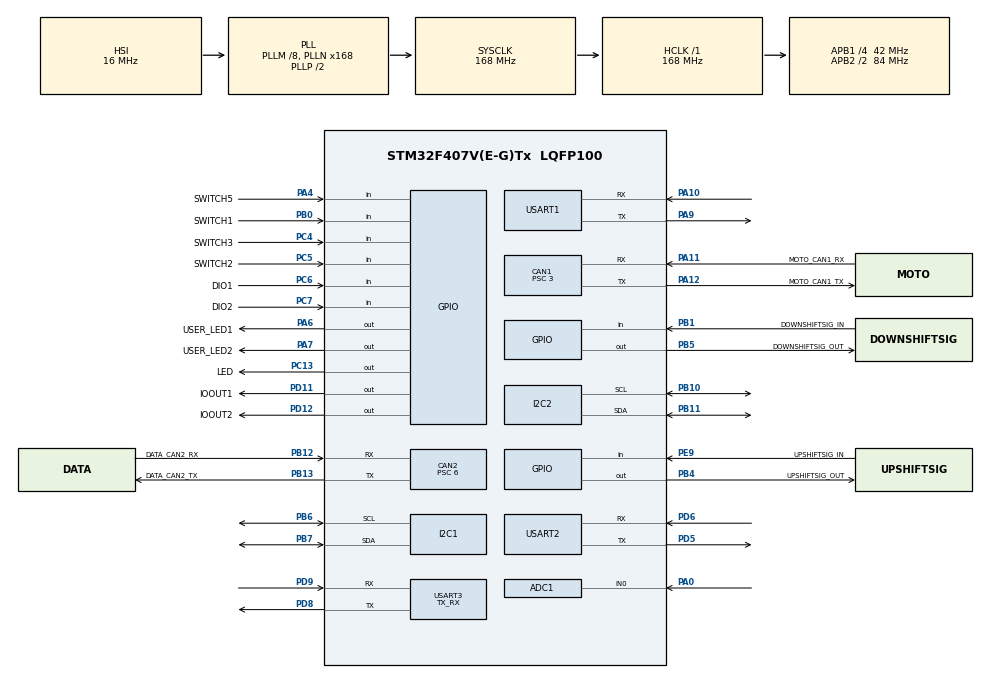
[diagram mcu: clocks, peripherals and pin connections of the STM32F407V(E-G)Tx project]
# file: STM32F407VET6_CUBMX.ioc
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ADC1.Channel-1\#ChannelRegularConversion=ADC_CHANNEL_0
ADC1.NbrOfConversionFlag=1
ADC1.Rank-1\#ChannelRegularConversion=1
ADC1.Resolution=ADC_RESOLUTION_10B
ADC1.SamplingTime-1\#ChannelRegularConversion=ADC_SAMPLETIME_3CYCLES
ADC1.master=1
CAN1.AWUM=ENABLE
CAN1.BS1=CAN_BS1_8TQ
CAN1.BS2=CAN_BS2_5TQ
CAN1.CalculateBaudRate=1000000
CAN1.CalculateTimeBit=1000
CAN1.CalculateTimeQuantum=71.42857142857143
CAN1.NART=ENABLE
CAN1.Prescaler=3
CAN1.RFLM=ENABLE
CAN2.AWUM=ENABLE
CAN2.BS1=CAN_BS1_8TQ
CAN2.BS2=CAN_BS2_5TQ
CAN2.CalculateBaudRate=500000
CAN2.CalculateTimeBit=2000
CAN2.CalculateTimeQuantum=142.85714285714286
CAN2.Mode=CAN_MODE_NORMAL
CAN2.NART=ENABLE
CAN2.Prescaler=6
CAN2.RFLM=ENABLE
Dma.Request0=USART1_RX
Dma.Request1=USART1_TX
Dma.Request2=USART2_TX
Dma.USART1_RX.0.Direction=DMA_PERIPH_TO_MEMORY
Dma.USART1_RX.0.FIFOMode=DMA_FIFOMODE_DISABLE
Dma.USART1_RX.0.Instance=DMA2_Stream2
Dma.USART1_RX.0.MemDataAlignment=DMA_MDATAALIGN_BYTE
Dma.USART1_RX.0.MemInc=DMA_MINC_ENABLE
Dma.USART1_RX.0.Mode=DMA_NORMAL
Dma.USART1_RX.0.PeriphDataAlignment=DMA_PDATAALIGN_BYTE
Dma.USART1_RX.0.PeriphInc=DMA_PINC_DISABLE
Dma.USART1_RX.0.Priority=DMA_PRIORITY_LOW
Dma.USART1_TX.1.Direction=DMA_MEMORY_TO_PERIPH
Dma.USART1_TX.1.FIFOMode=DMA_FIFOMODE_DISABLE
Dma.USART1_TX.1.Instance=DMA2_Stream7
Dma.USART1_TX.1.MemDataAlignment=DMA_MDATAALIGN_BYTE
Dma.USART1_TX.1.MemInc=DMA_MINC_ENABLE
Dma.USART1_TX.1.Mode=DMA_NORMAL
Dma.USART1_TX.1.PeriphDataAlignment=DMA_PDATAALIGN_BYTE
Dma.USART1_TX.1.PeriphInc=DMA_PINC_DISABLE
Dma.USART1_TX.1.Priority=DMA_PRIORITY_LOW
Dma.USART2_TX.2.Direction=DMA_MEMORY_TO_PERIPH
Dma.USART2_TX.2.FIFOMode=DMA_FIFOMODE_DISABLE
Dma.USART2_TX.2.Instance=DMA1_Stream6
Dma.USART2_TX.2.MemDataAlignment=DMA_MDATAALIGN_BYTE
Dma.USART2_TX.2.MemInc=DMA_MINC_ENABLE
Dma.USART2_TX.2.Mode=DMA_NORMAL
Dma.USART2_TX.2.PeriphDataAlignment=DMA_PDATAALIGN_BYTE
Dma.USART2_TX.2.PeriphInc=DMA_PINC_DISABLE
Dma.USART2_TX.2.Priority=DMA_PRIORITY_LOW
Mcu.Family=STM32F4
Mcu.Name=STM32F407V(E-G)Tx
Mcu.Package=LQFP100
NVIC.CAN1_RX0_IRQn=true\:0\:0\:false\:false\:true\:true\:true\:true
NVIC.CAN2_RX1_IRQn=true\:0\:0\:false\:false\:true\:true\:true\:true
NVIC.DMA1_Stream6_IRQn=true\:0\:0\:false\:false\:true\:false\:true\:true
NVIC.DMA2_Stream2_IRQn=true\:0\:0\:false\:false\:true\:false\:true\:true
NVIC.DMA2_Stream7_IRQn=true\:0\:0\:false\:false\:true\:false\:true\:true
NVIC.PriorityGroup=NVIC_PRIORITYGROUP_4
NVIC.TIM2_IRQn=true\:1\:0\:true\:false\:true\:true\:true\:true
NVIC.TIM3_IRQn=true\:0\:0\:false\:false\:true\:true\:true\:true
PA0-WKUP.Signal=ADCx_IN0
PA10.Mode=Asynchronous
PA10.Signal=USART1_RX
PA11.GPIO_Label=MOTO_CAN1_RX
PA11.GPIO_PuPd=GPIO_NOPULL
PA11.Mode=CAN_Activate
PA11.Signal=CAN1_RX
PA12.GPIO_Label=MOTO_CAN1_TX
PA12.Mode=CAN_Activate
PA12.Signal=CAN1_TX
PA13.Mode=Serial_Wire
PA13.Signal=SYS_JTMS-SWDIO
PA14.Mode=Serial_Wire
PA14.Signal=SYS_JTCK-SWCLK
PA4.GPIO_Label=SWITCH5
PA4.GPIO_PuPd=GPIO_PULLDOWN
PA4.Signal=GPIO_Input
PA6.GPIO_Label=USER_LED1
PA6.GPIO_ModeDefaultOutputPP=GPIO_MODE_OUTPUT_PP
PA6.GPIO_PuPd=GPIO_PULLUP
PA6.PinState=GPIO_PIN_SET
PA6.Signal=GPIO_Output
PA7.GPIO_Label=USER_LED2
PA7.GPIO_PuPd=GPIO_PULLUP
PA7.PinState=GPIO_PIN_SET
PA7.Signal=GPIO_Output
PA9.Mode=Asynchronous
PA9.Signal=USART1_TX
PB0.GPIO_Label=SWITCH1
PB0.GPIO_PuPd=GPIO_PULLDOWN
PB0.Signal=GPIO_Input
PB1.GPIO_Label=DOWNSHIFTSIG_IN
PB1.GPIO_PuPd=GPIO_PULLDOWN
PB1.Signal=GPIO_Input
PB10.Mode=I2C
PB10.Signal=I2C2_SCL
PB11.Mode=I2C
PB11.Signal=I2C2_SDA
PB12.GPIO_Label=DATA_CAN2_RX
PB12.GPIO_PuPd=GPIO_PULLUP
PB12.Mode=CAN_Activate
PB12.Signal=CAN2_RX
PB13.GPIO_Label=DATA_CAN2_TX
PB13.GPIO_PuPd=GPIO_PULLUP
PB13.Mode=CAN_Activate
PB13.Signal=CAN2_TX
PB4.GPIO_Label=UPSHIFTSIG_OUT
PB4.GPIO_PuPd=GPIO_PULLDOWN
PB4.Signal=GPIO_Output
PB5.GPIO_Label=DOWNSHIFTSIG_OUT
PB5.GPIO_PuPd=GPIO_PULLDOWN
PB5.Signal=GPIO_Output
PB6.Mode=I2C
PB6.Signal=I2C1_SCL
PB7.Mode=I2C
PB7.Signal=I2C1_SDA
PC13-ANTI_TAMP.GPIO_Label=LED
PC13-ANTI_TAMP.GPIO_PuPd=GPIO_PULLUP
PC13-ANTI_TAMP.Signal=GPIO_Output
PC14-OSC32_IN.Mode=LSE-External-Oscillator
PC14-OSC32_IN.Signal=RCC_OSC32_IN
PC15-OSC32_OUT.Mode=LSE-External-Oscillator
PC15-OSC32_OUT.Signal=RCC_OSC32_OUT
PC4.GPIO_Label=SWITCH3
PC4.GPIO_PuPd=GPIO_PULLDOWN
PC4.Signal=GPIO_Input
PC5.GPIO_Label=SWITCH2
PC5.GPIO_PuPd=GPIO_PULLDOWN
PC5.Signal=GPIO_Input
PC6.GPIO_Label=DIO1
PC6.Signal=GPIO_Input
PC7.GPIO_Label=DIO2
PC7.Signal=GPIO_Input
PD11.GPIO_Label=IOOUT1
PD11.GPIO_PuPd=GPIO_PULLDOWN
PD11.Signal=GPIO_Output
PD12.GPIO_Label=IOOUT2
PD12.GPIO_PuPd=GPIO_PULLDOWN
PD12.Signal=GPIO_Output
PD5.Mode=Asynchronous
PD5.Signal=USART2_TX
PD6.Mode=Asynchronous
PD6.Signal=USART2_RX
PD8.Mode=Asynchronous
PD8.Signal=USART3_TX
PD9.Mode=Asynchronous
PD9.Signal=USART3_RX
PE9.GPIO_Label=UPSHIFTSIG_IN
PE9.GPIO_PuPd=GPIO_PULLDOWN
PE9.Signal=GPIO_Input
PH0-OSC_IN.Mode=HSE-External-Oscillator
PH0-OSC_IN.Signal=RCC_OSC_IN
PH1-OSC_OUT.Mode=HSE-External-Oscillator
PH1-OSC_OUT.Signal=RCC_OSC_OUT
ProjectManager.HeapSize=0x200
ProjectManager.StackSize=0x400
ProjectManager.TargetToolchain=MDK-ARM V5.32
RCC.48MHZClocksFreq_Value=84000000
RCC.AHBFreq_Value=168000000
RCC.APB1CLKDivider=RCC_HCLK_DIV4
RCC.APB1Freq_Value=42000000
RCC.APB1TimFreq_Value=84000000
RCC.APB2CLKDivider=RCC_HCLK_DIV2
RCC.APB2Freq_Value=84000000
RCC.APB2TimFreq_Value=168000000
RCC.CortexFreq_Value=168000000
RCC.HCLKFreq_Value=168000000
RCC.HSE_VALUE=25000000
RCC.HSI_VALUE=16000000
RCC.PLLM=8
RCC.PLLN=168
RCC.SYSCLKFreq_VALUE=168000000
RCC.SYSCLKSource=RCC_SYSCLKSOURCE_PLLCLK
RCC.VCOOutputFreq_Value=336000000
SH.ADCx_IN0.0=ADC1_IN0,IN0
TIM2.AutoReloadPreload=TIM_AUTORELOAD_PRELOAD_DISABLE
TIM2.Period=500-1
TIM2.Prescaler=16800-1
TIM3.Period=50-1
TIM3.Prescaler=16800-1
USART1.VirtualMode=VM_ASYNC
USART2.VirtualMode=VM_ASYNC
USART3.Mode=MODE_TX_RX
USART3.VirtualMode=VM_ASYNC
VP_TIM1_VS_ClockSourceINT.Mode=Internal
VP_TIM1_VS_ClockSourceITR.Mode=TriggerSource_ITR0
VP_TIM1_VS_ControllerModeTrigger.Mode=Trigger Mode
VP_TIM2_VS_ClockSourceINT.Mode=Internal
VP_TIM3_VS_ClockSourceINT.Mode=Internal
board=custom

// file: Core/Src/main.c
/* USER CODE BEGIN Header */
/**
  ******************************************************************************
  * @file           : main.c
  * @brief          : Main program body
  ******************************************************************************
  * @attention
  *
  * Copyright (c) 2025 STMicroelectronics.
  * All rights reserved.
  *
  * This software is licensed under terms that can be found in the LICENSE file
  * in the root directory of this software component.
  * If no LICENSE file comes with this software, it is provided AS-IS.
  *
  ******************************************************************************
  */
/* USER CODE END Header */
#include "main.h"
#include "adc.h"
#include "can.h"
#include "dma.h"
#include "i2c.h"
#include "tim.h"
#include "usart.h"
#include "gpio.h"

/* USER CODE BEGIN Includes */
#include "headfile.h"    //头文
#include "SA_E_shift.h"    //头文

/* USER CODE END Includes */

/* USER CODE BEGIN PTD */
#define overtime_tick_max 65534
/* USER CODE END PTD */

void SystemClock_Config(void);

/* USER CODE BEGIN 0 */
uint16_t overtime_tick;
uint8_t key_num;

/* USER CODE END 0 */

int main(void)
{

  /* MCU Configuration--------------------------------------------------------*/

  /* Reset of all peripherals, Initializes the Flash interface and the Systick. */
  HAL_Init();

  /* Configure the system clock */
  SystemClock_Config();

  /* USER CODE BEGIN SysInit */
    HAL_Delay(2000); //上电后延时2s，等待电平稳定后再初始化单片机
  /* USER CODE END SysInit */

  /* Initialize all configured peripherals */
  MX_GPIO_Init();
  HAL_GPIO_WritePin(USER_LED1_GPIO_Port,USER_LED1_Pin,GPIO_PIN_SET);
  HAL_GPIO_WritePin(USER_LED2_GPIO_Port,USER_LED2_Pin,GPIO_PIN_SET);
  MX_DMA_Init();
  MX_TIM1_Init();
  MX_ADC1_Init();
//  HAL_Delay(200); //上电后延时2s，等待电平稳定后再初始化单片机
  MX_CAN1_Init();
//  HAL_Delay(200); //上电后延时2s，等待电平稳定后再初始化单片机
USER_LED_BLINK(LED_GPIO_Port,LED_Pin,200);
  MX_CAN2_Init();
  USER_LED_BLINK(LED_GPIO_Port,LED_Pin,200);

//  HAL_Delay(200); //上电后延时2s，等待电平稳定后再初始化单片机
  MX_I2C1_Init();
  MX_I2C2_Init();
  MX_USART1_UART_Init();
  MX_USART2_UART_Init();
  MX_USART3_UART_Init();
  MX_TIM2_Init();
  MX_TIM3_Init();
  /* USER CODE BEGIN 2 */
    USER_LED_BLINK(USER_LED1_GPIO_Port,USER_LED1_Pin,200);
   Init_DATA_CAN();
//    HAL_Delay(500); //上电后延时2s，等待电平稳定后再初始化单片机
    Motor_Init();
    USER_LED_BLINK(LED_GPIO_Port,LED_Pin,200);
    key_init(50);
    HAL_TIM_Base_Start_IT(&htim2);//定时器2 50ms中断开启
    HAL_TIM_Base_Start_IT(&htim3);//定时器3 50ms中断开启
//    HAL_GPIO_WritePin((GPIO_TypeDef *)LED_GPIO_Port, (uint16_t)LED_Pin, (GPIO_PinState)1);  //主循环工作指示灯
    USER_LED_BLINK(USER_LED2_GPIO_Port,USER_LED2_Pin,200);
  /* USER CODE END 2 */

  /* Infinite loop */
  /* USER CODE BEGIN WHILE */
  while (1)
  {
      HAL_GPIO_WritePin((GPIO_TypeDef *)LED_GPIO_Port, (uint16_t)LED_Pin, (GPIO_PinState)1);  //主循环工作指示灯

      Radio_Data_Send(&Clutch_Cyber,&Shift_Cyber,&ECUDATA,Real_Gear,1);//电台发送数据
//      CANtest(&Clutch_Cyber,&Shift_Cyber);//基础串口调试代码
//      Set_Cyber_Pos(&Clutch_Cyber,0) ;  //设置电机归0
      Set_Cyber_Pos(&Shift_Cyber,0) ; //设置电机默认位置 （根据档位传感器的值决定默认位置 单位度数）

    if (key_get_state(UPSHIFTSIG)==KEY_PRESSED)
        {
            HAL_GPIO_WritePin(USER_LED1_GPIO_Port,USER_LED1_Pin,GPIO_PIN_RESET);
            EShift_move(1,&ECUDATA);  //升档操作
            HAL_GPIO_WritePin(USER_LED1_GPIO_Port,USER_LED1_Pin,GPIO_PIN_SET);
            UPSHIFT_flag(0);
        }
    else if (key_get_state(DOWNSHIFTSIG)==KEY_PRESSED)
        {
            HAL_GPIO_WritePin(USER_LED2_GPIO_Port,USER_LED2_Pin,GPIO_PIN_RESET);
            EShift_move(0,&ECUDATA);  //降档操作
            HAL_GPIO_WritePin(USER_LED2_GPIO_Port,USER_LED2_Pin,GPIO_PIN_SET);
            DOWNSHIFT_flag(0);
        }
    else if (key_get_state(SET_N)==KEY_PRESSED)
        {
            USER_LED_BLINK(USER_LED2_GPIO_Port,USER_LED2_Pin,200);
            set_gear_N();  //重置空档
            USER_LED_BLINK(USER_LED1_GPIO_Port,USER_LED1_Pin,200);
        }

//    if (key_get_state(UPSHIFTSIG)==KEY_PRESSED)
//        {
//            Set_Cyber_Pos(&Shift_Cyber,40);  //设定离合位置
//            HAL_Delay(1000);

//        }
//    if (key_get_state(DOWNSHIFTSIG)==KEY_PRESSED)
//        {
//            Set_Cyber_Pos(&Shift_Cyber,10);  //设定离合位置
//            HAL_Delay(1000);

//        }

//if (key_get_state(DOWNSHIFTSIG)==KEY_PRESSED){

//   HAL_GPIO_WritePin(LED_GPIO_Port, (uint16_t)LED_Pin, (GPIO_PinState)0);  //主循环工作指示灯
//   HAL_Delay(1000);
//   HAL_GPIO_WritePin(LED_GPIO_Port, (uint16_t)LED_Pin, (GPIO_PinState)1);  //主循环工作指示灯
//}

//// 仪表指示灯测试
//   HAL_GPIO_WritePin(USER_LED1_GPIO_Port, (uint16_t)USER_LED1_Pin, (GPIO_PinState)0);  //主循环工作指示灯
//   HAL_GPIO_WritePin(USER_LED2_GPIO_Port, (uint16_t)USER_LED2_Pin, (GPIO_PinState)0);  //主循环工作指示灯
//   HAL_Delay(1000);
//   HAL_GPIO_WritePin(USER_LED1_GPIO_Port, (uint16_t)USER_LED1_Pin, (GPIO_PinState)1);  //主循环工作指示灯
//   HAL_GPIO_WritePin(USER_LED2_GPIO_Port, (uint16_t)USER_LED2_Pin, (GPIO_PinState)1);  //主循环工作指示灯
//   HAL_Delay(1000);

    /* USER CODE END WHILE */

  }
}

void SystemClock_Config(void)
{
  RCC_OscInitTypeDef RCC_OscInitStruct = {0};
  RCC_ClkInitTypeDef RCC_ClkInitStruct = {0};

  /** Configure the main internal regulator output voltage
  */
  __HAL_RCC_PWR_CLK_ENABLE();
  __HAL_PWR_VOLTAGESCALING_CONFIG(PWR_REGULATOR_VOLTAGE_SCALE1);

  /** Initializes the RCC Oscillators according to the specified parameters
  * in the RCC_OscInitTypeDef structure.
  */
  RCC_OscInitStruct.OscillatorType = RCC_OSCILLATORTYPE_HSI;
  RCC_OscInitStruct.HSIState = RCC_HSI_ON;
  RCC_OscInitStruct.HSICalibrationValue = RCC_HSICALIBRATION_DEFAULT;
  RCC_OscInitStruct.PLL.PLLState = RCC_PLL_ON;
  RCC_OscInitStruct.PLL.PLLSource = RCC_PLLSOURCE_HSI;
  RCC_OscInitStruct.PLL.PLLM = 8;
  RCC_OscInitStruct.PLL.PLLN = 168;
  RCC_OscInitStruct.PLL.PLLP = RCC_PLLP_DIV2;
  RCC_OscInitStruct.PLL.PLLQ = 4;
  if (HAL_RCC_OscConfig(&RCC_OscInitStruct) != HAL_OK)
  {
    Error_Handler();
  }

  /** Initializes the CPU, AHB and APB buses clocks
  */
  RCC_ClkInitStruct.ClockType = RCC_CLOCKTYPE_HCLK|RCC_CLOCKTYPE_SYSCLK
                              |RCC_CLOCKTYPE_PCLK1|RCC_CLOCKTYPE_PCLK2;
  RCC_ClkInitStruct.SYSCLKSource = RCC_SYSCLKSOURCE_PLLCLK;
  RCC_ClkInitStruct.AHBCLKDivider = RCC_SYSCLK_DIV1;
  RCC_ClkInitStruct.APB1CLKDivider = RCC_HCLK_DIV4;
  RCC_ClkInitStruct.APB2CLKDivider = RCC_HCLK_DIV2;

  if (HAL_RCC_ClockConfig(&RCC_ClkInitStruct, FLASH_LATENCY_5) != HAL_OK)
  {
    Error_Handler();
  }
}

/* USER CODE BEGIN 4 */
void HAL_TIM_PeriodElapsedCallback(TIM_HandleTypeDef *htim){
    if(htim == &htim2)  //判断中断是否来自于定时器2
   {
       overtime_tick++;
       if (overtime_tick > overtime_tick_max) overtime_tick=0;  //超时判断定时器中断
   }
   if(htim==&htim3)
   {
       key_scanner();
   }
}

void USER_LED_BLINK(GPIO_TypeDef *Port,uint16_t Pin,uint16_t time){
    HAL_GPIO_WritePin(Port,Pin,GPIO_PIN_RESET);
    HAL_Delay(time);
    HAL_GPIO_WritePin(Port,Pin,GPIO_PIN_SET);
    HAL_Delay(time);
    HAL_GPIO_WritePin(Port,Pin,GPIO_PIN_RESET);
    HAL_Delay(time);
    HAL_GPIO_WritePin(Port,Pin,GPIO_PIN_SET);
}

//单片机测试代码
//    HAL_GPIO_WritePin((GPIO_TypeDef *)LED1_GPIO_Port, (uint16_t)LED1_Pin, (GPIO_PinState)0);
//    HAL_Delay(200);
//    HAL_GPIO_WritePin((GPIO_TypeDef *)LED1_GPIO_Port, (uint16_t)LED1_Pin, (GPIO_PinState)1);
//    HAL_Delay(200);
//    printf("samples: %d \n",a );
//    a++;
/* USER CODE END 4 */

void Error_Handler(void)
{
  __disable_irq();
  while (1)
  {
  }
}
